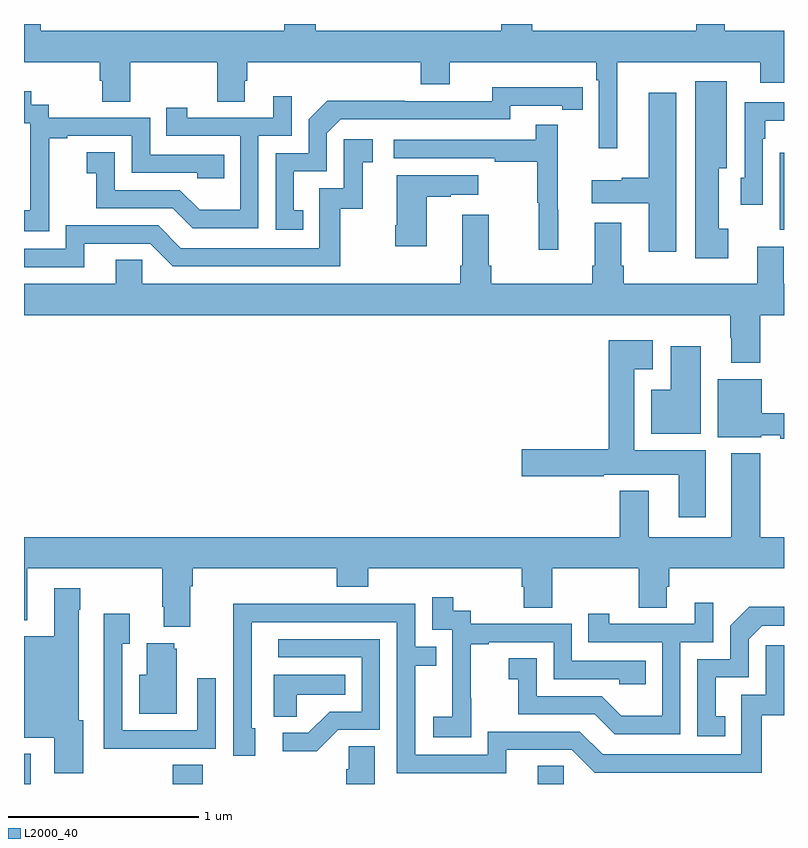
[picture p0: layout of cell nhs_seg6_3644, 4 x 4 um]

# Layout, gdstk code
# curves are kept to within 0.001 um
import gdstk
lib = gdstk.Library(unit=1e-6, precision=1e-09)
def R(c, l, rs):  # rectangles x0, y0, x1, y1
    for r in rs: c.add(gdstk.rectangle(r[:2], r[2:], *l))
def P(c, l, *ps):  # polygons
    for p in ps: c.add(gdstk.Polygon(p, *l))
L2000_40 = (2000, 40)

nhs_seg6_3644 = lib.new_cell('nhs_seg6_3644')
R(nhs_seg6_3644, L2000_40, [(323,979.5,323.035,979.658), (323.782,979.5,323.942,979.601), (325.703,979.5,325.842,979.595), (326.978,982.417,327,982.822)])
P(nhs_seg6_3644, L2000_40, [(326.122,983.3),(326.876,983.3),(326.876,983.19),(327,983.19),(327,983.464),(326.689,983.464),(326.689,983.5),(326.537,983.5),(326.537,983.464),(325.676,983.464),(325.676,983.5),(325.511,983.5),(325.511,983.464),(324.536,983.464),(324.536,983.5),(324.371,983.5),(324.371,983.464),(323.089,983.464),(323.089,983.5),(323,983.5),(323,983.3),(323.399,983.3),(323.399,983.202),(323.411,983.202),(323.411,983.092),(323.559,983.092),(323.559,983.3),(324.016,983.3),(324.016,983.092),(324.163,983.092),(324.163,983.202),(324.176,983.202),(324.176,983.3),(325.088,983.3),(325.088,983.183),(325.24,983.183),(325.24,983.3),(326.012,983.3),(326.012,983.204),(326.025,983.204),(326.025,982.845),(326.122,982.845)],
  [(326.707,982.422),(326.656,982.422),(326.656,982.742),(326.698,982.742),(326.698,983.2),(326.534,983.2),(326.534,982.266),(326.707,982.266)],
  [(324.47,982.521),(324.421,982.521),(324.421,982.725),(324.594,982.725),(324.594,982.926),(324.666,982.998),(325.56,982.998),(325.56,983.07),(325.832,983.07),(325.832,983.05),(325.94,983.05),(325.94,983.166),(325.464,983.167),(325.464,983.094),(325.004,983.094),(325.004,983.096),(324.596,983.096),(324.498,982.998),(324.498,982.821),(324.324,982.821),(324.324,982.416),(324.47,982.416)],
  [(323.133,982.615),(323.132,982.615),(323.132,982.899),(323.227,982.899),(323.227,982.911),(323.568,982.911),(323.568,982.716),(323.913,982.716),(323.913,982.689),(324.053,982.689),(324.053,982.812),(323.664,982.812),(323.664,983.007),(323.13,983.007),(323.13,983.076),(323.038,983.076),(323.038,983.146),(323,983.146),(323,982.977),(323.034,982.977),(323.034,982.748),(323.033,982.748),(323.033,982.519),(323,982.519),(323,982.409),(323.133,982.409)],
  [(326.434,983.137),(326.288,983.137),(326.288,982.691),(326.147,982.691),(326.147,982.678),(325.989,982.678),(325.989,982.556),(326.288,982.556),(326.288,982.302),(326.434,982.302)],
  [(324.234,982.911),(324.408,982.911),(324.408,983.119),(324.311,983.119),(324.311,983.007),(323.86,983.007),(323.86,983.059),(323.749,983.059),(323.749,982.911),(324.138,982.911),(324.138,982.522),(323.924,982.522),(323.82,982.626),(323.478,982.626),(323.478,982.825),(323.331,982.825),(323.331,982.715),(323.38,982.715),(323.38,982.53),(323.783,982.53),(323.888,982.425),(324.234,982.425)],
  [(326.889,982.895),(326.902,982.895),(326.902,982.991),(327,982.991),(327,983.088),(326.793,983.088),(326.793,982.692),(326.772,982.692),(326.772,982.548),(326.889,982.548)],
  [(325.811,982.523),(325.81,982.523),(325.81,982.969),(325.693,982.969),(325.693,982.89),(324.945,982.89),(324.945,982.794),(325.477,982.794),(325.477,982.774),(325.701,982.774),(325.701,982.56),(325.708,982.56),(325.708,982.311),(325.811,982.311)],
  [(323.317,982.344),(323.664,982.344),(323.784,982.224),(324.664,982.224),(324.664,982.527),(324.782,982.527),(324.782,982.773),(324.835,982.773),(324.835,982.894),(324.684,982.894),(324.684,982.635),(324.555,982.635),(324.555,982.32),(323.826,982.32),(323.706,982.44),(323.22,982.44),(323.22,982.317),(323,982.317),(323,982.221),(323.317,982.221)],
  [(325.12,982.591),(325.247,982.591),(325.247,982.601),(325.39,982.601),(325.39,982.705),(324.962,982.705),(324.962,982.441),(324.955,982.441),(324.955,982.329),(325.12,982.329)],
  [(326.876,981.968),(327,981.968),(327,982.132),(326.998,982.132),(326.998,982.327),(326.858,982.327),(326.858,982.132),(326.156,982.132),(326.156,982.228),(326.143,982.228),(326.143,982.453),(326.003,982.453),(326.003,982.228),(325.991,982.228),(325.991,982.132),(325.46,982.132),(325.46,982.228),(325.447,982.228),(325.447,982.495),(325.307,982.495),(325.307,982.228),(325.295,982.228),(325.295,982.132),(323.622,982.132),(323.622,982.259),(323.483,982.259),(323.483,982.132),(323,982.132),(323,981.968),(326.716,981.968),(326.716,981.848),(326.723,981.848),(326.723,981.716),(326.876,981.716)],
  [(326.587,981.256),(326.212,981.256),(326.212,981.683),(326.308,981.683),(326.308,981.835),(326.078,981.835),(326.078,981.263),(325.62,981.263),(325.62,981.121),(326.051,981.121),(326.051,981.128),(326.447,981.128),(326.447,980.904),(326.587,980.904)],
  [(326.563,981.805),(326.405,981.805),(326.405,981.574),(326.3,981.574),(326.3,981.344),(326.563,981.344)],
  [(327,981.452),(326.884,981.452),(326.884,981.631),(326.651,981.631),(326.651,981.326),(326.88,981.326),(326.88,981.336),(326.98,981.336),(326.98,981.316),(327,981.316)],
  [(323.875,980.54),(323.888,980.54),(323.888,980.636),(324.647,980.636),(324.647,980.537),(324.812,980.537),(324.812,980.636),(325.619,980.636),(325.619,980.538),(325.631,980.538),(325.631,980.428),(325.779,980.428),(325.779,980.636),(326.236,980.636),(326.236,980.428),(326.383,980.428),(326.383,980.538),(326.396,980.538),(326.396,980.636),(327,980.636),(327,980.8),(326.876,980.8),(326.876,981.241),(326.723,981.241),(326.723,980.8),(326.287,980.8),(326.287,981.043),(326.135,981.043),(326.135,980.8),(323,980.8),(323,980.363),(323.017,980.363),(323.017,980.636),(323.728,980.636),(323.728,980.434),(323.735,980.434),(323.735,980.327),(323.875,980.327)],
  [(323.311,979.836),(323.287,979.836),(323.287,980.417),(323.295,980.417),(323.295,980.53),(323.159,980.53),(323.159,980.278),(323,980.278),(323,979.743),(323.159,979.743),(323.159,979.557),(323.311,979.557)],
  [(325.353,979.951),(325.352,979.951),(325.352,980.235),(325.447,980.235),(325.447,980.247),(325.788,980.247),(325.788,980.052),(326.133,980.052),(326.133,980.025),(326.273,980.025),(326.273,980.148),(325.884,980.148),(325.884,980.343),(325.35,980.343),(325.35,980.412),(325.258,980.412),(325.258,980.482),(325.149,980.482),(325.149,980.313),(325.254,980.313),(325.254,980.084),(325.253,980.084),(325.253,979.855),(325.155,979.855),(325.155,979.745),(325.353,979.745)],
  [(326.454,980.247),(326.628,980.247),(326.628,980.455),(326.531,980.455),(326.531,980.343),(326.08,980.343),(326.08,980.395),(325.969,980.395),(325.969,980.247),(326.358,980.247),(326.358,979.858),(326.144,979.858),(326.04,979.962),(325.698,979.962),(325.698,980.161),(325.551,980.161),(325.551,980.051),(325.6,980.051),(325.6,979.866),(326.003,979.866),(326.108,979.761),(326.454,979.761)],
  [(325.537,979.68),(325.884,979.68),(326.004,979.56),(326.884,979.56),(326.884,979.863),(327,979.863),(327,980.23),(326.904,980.23),(326.904,979.971),(326.775,979.971),(326.775,979.656),(326.046,979.656),(325.926,979.776),(325.44,979.776),(325.44,979.653),(325.059,979.653),(325.059,980.122),(325.169,980.122),(325.169,980.223),(325.059,980.223),(325.059,980.448),(324.563,980.448),(324.563,980.45),(324.1,980.45),(324.1,980.143),(324.102,980.143),(324.102,979.65),(324.217,979.65),(324.217,979.794),(324.198,979.794),(324.198,980.352),(324.963,980.352),(324.963,979.557),(325.537,979.557)],
  [(326.69,979.857),(326.641,979.857),(326.641,980.061),(326.814,980.061),(326.814,980.262),(326.886,980.334),(327,980.334),(327,980.432),(326.816,980.432),(326.718,980.334),(326.718,980.157),(326.544,980.157),(326.544,979.752),(326.69,979.752)],
  [(323.693,979.686),(324.009,979.686),(324.009,980.056),(323.913,980.056),(323.913,979.782),(323.517,979.782),(323.517,980.239),(323.557,980.239),(323.557,980.395),(323.42,980.395),(323.42,979.936),(323.421,979.936),(323.421,979.685),(323.693,979.685)],
  [(324.654,979.785),(324.873,979.785),(324.873,980.262),(324.339,980.262),(324.339,980.166),(324.777,980.166),(324.777,979.881),(324.608,979.881),(324.497,979.77),(324.363,979.77),(324.363,979.673),(324.541,979.673)],
  [(323.803,980.211),(323.792,980.211),(323.792,980.242),(323.645,980.242),(323.645,980.074),(323.606,980.074),(323.606,979.871),(323.803,979.871)],
  [(324.435,979.97),(324.692,979.97),(324.692,980.074),(324.314,980.074),(324.314,979.855),(324.435,979.855)],
  [(324.847,979.7),(324.708,979.7),(324.708,979.577),(324.695,979.577),(324.695,979.5),(324.847,979.5)])

lib.write_gds('nhs_seg6_3644.gds')
